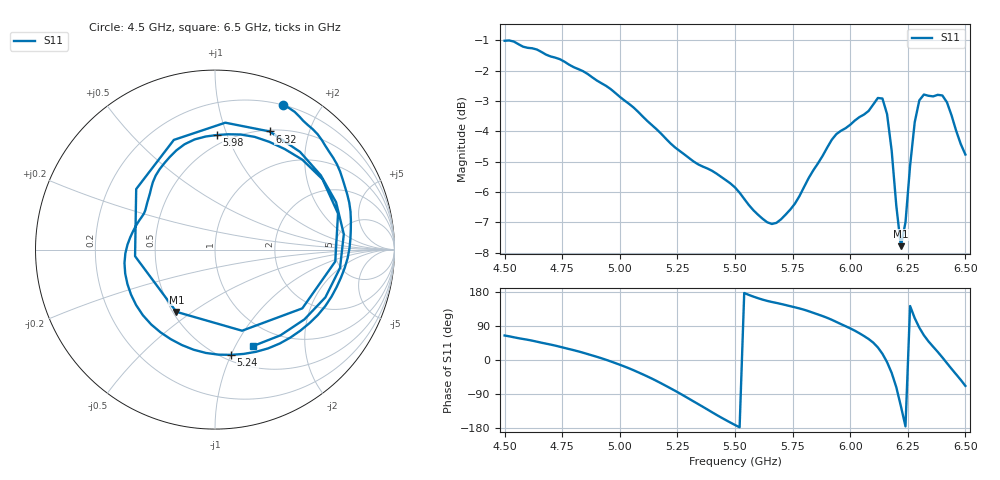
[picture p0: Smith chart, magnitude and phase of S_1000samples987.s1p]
! TOUCHSTONE file generated by CST MICROWAVE STUDIO
! Date and time: Sun Oct 30 00:25:45 2022
! Project name: L.cst
! Parameters = {Di=1.27; Epsilon_r=1.56; InnerDiameter=1.27; Length=2; Lf=10; Lg=60; OuterConductorThickness=0.2921; OuterDiameter=3.6; Wf=3; Wp=41.2; de=1.5; df=6.8; g=0.8; gx=2.47762; gy=1.37433; h=2.34; hf=1.524; px=10.9229; py=12.8674; w=9.7; wx=8.4453; wy=11.4931}
! Header version: 2018
! Port assignment regex: !\s*Touchstone port\s*([0-9]+)\s*=\s*(CST MWS port|CST DS port)\s*([0-9]+|Zmin|Zmax)\s*\(\"(.*)\"\)(\s*mode\s*([0-9]+))?.*
! Touchstone port assignment:
! Touchstone port 1 = CST MWS port 1 ("")
# GHz S DB R 50
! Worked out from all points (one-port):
!   101 points, 4.5 GHz to 6.5 GHz, reference 50 ohm
!   lowest |S11| = -7.8 dB at 6.22 GHz (marker M1), VSWR 2.38, Z = 26.1 - j21.7 ohm
!   |S11| at or under -10 dB: nowhere
!   S11 on the Smith chart (normalised r, x): 4.5 GHz: 0.20, +1.56; 5.24 GHz: 0.55, -1.00; 5.98 GHz: 0.43, +0.92; 6.32 GHz: 0.52, +1.44; 6.5 GHz: 0.73, -1.18
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4.5  -1.02 64.7
4.76  -1.71 31.9
5  -2.87 -12.5
5.14  -3.80 -49.3
5.24  -4.53 -81.2
5.26  -4.65 -88.0
5.4  -5.30 -137.7
5.5  -5.85 -171.5
5.6  -6.75 163.1
5.76  -6.38 139.1
5.88  -4.81 116.0
5.98  -3.90 89.2
6  -3.79 83.5
6.1  -3.12 45.9
6.12  -2.90 33.3
6.16  -3.44 -5.7
6.18  -4.64 -33.9
6.2  -6.44 -71.5
6.22  -7.78 -121.8
6.24  -7.00 -175.3
6.26  -5.13 142.5
6.28  -3.70 110.6
6.3  -2.98 85.4
6.32  -2.79 65.2
6.36  -2.85 35.1
6.4  -2.82 6.8
6.44  -3.48 -23.4
6.5  -4.77 -68.3
